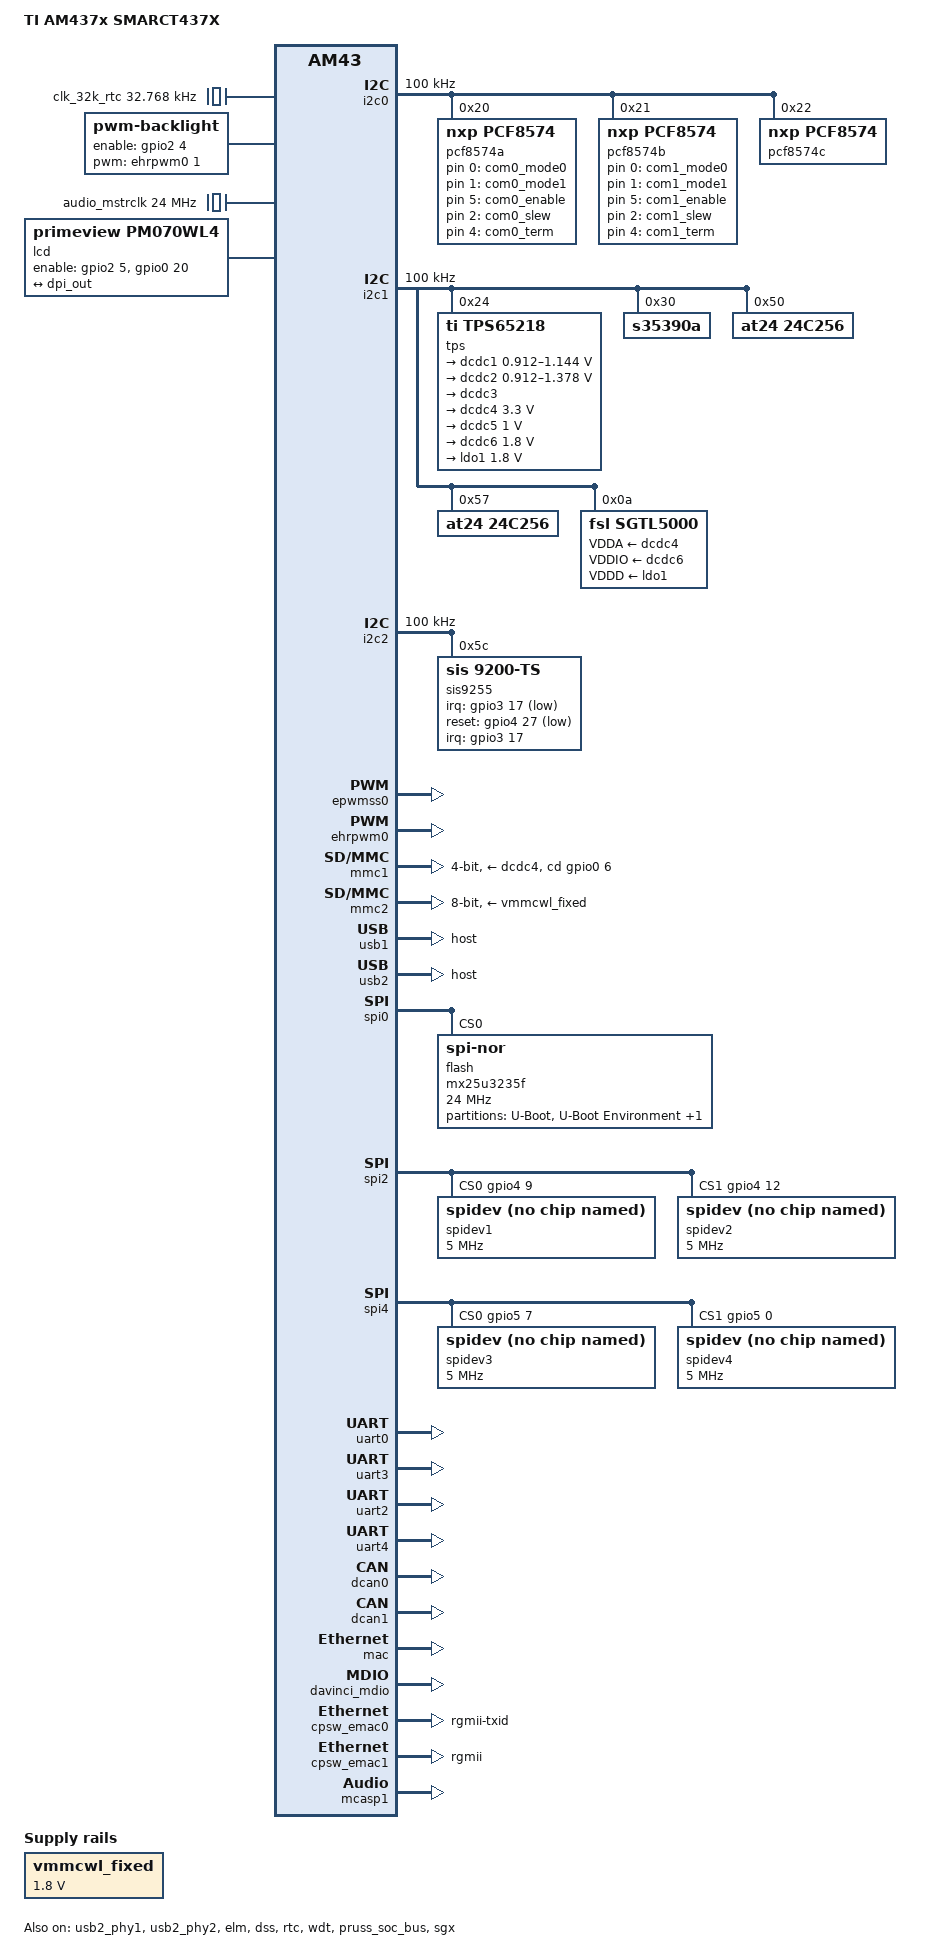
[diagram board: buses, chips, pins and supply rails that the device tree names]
/*
 * Copyright (C) 2014 Texas Instruments Incorporated - http://www.ti.com/
 *
 * This program is free software; you can redistribute it and/or modify
 * it under the terms of the GNU General Public License version 2 as
 * published by the Free Software Foundation.
 */

/* AM437x SMARC-T437X */

/dts-v1/;

#include "am4372.dtsi"
#include <dt-bindings/pinctrl/am43xx.h>
#include <dt-bindings/pwm/pwm.h>
#include <dt-bindings/gpio/gpio.h>
#include <dt-bindings/input/input.h>
#include <dt-bindings/interrupt-controller/irq.h>

/ {
	model = "TI AM437x SMARCT437X";
	compatible = "ti,am437x-smarct437x","ti,am4372","ti,am43";

	aliases {
		display0 = &lcd0;
                rtc0 = &s35390a;
                rtc1 = &rtc;
	};

        vmmcwl_fixed: fixedregulator-mmcwl {
                compatible = "regulator-fixed";
                regulator-name = "vmmcwl_fixed";
                regulator-min-microvolt = <1800000>;
                regulator-max-microvolt = <1800000>;
        };

	/* fixed 32k external oscillator clock */
	clk_32k_rtc: clk_32k_rtc {
		#clock-cells = <0>;
		compatible = "fixed-clock";
		clock-frequency = <32768>;
	};

        backlight {
                compatible = "pwm-backlight";
                enable-gpios = <&gpio2 4 GPIO_ACTIVE_HIGH>; /* Backlight Enable Pin*/
                pwms = <&ehrpwm0 1 250000 PWM_POLARITY_INVERTED>;
		brightness-levels = <255 212 128 56 75 62 53 51 0>;
                default-brightness-level = <8>; /* 8 is the brightest */
        };

        sound {
                compatible = "simple-audio-card";
                simple-audio-card,name = "SMARCT437X SOUND CARD";
                simple-audio-card,widgets =
                        "Headphone", "Headphone Jack",
                        "Line", "Line In";
                simple-audio-card,routing =
                        "Headphone Jack",       "HPLOUT",
                        "Headphone Jack",       "HPROUT",
                        "LINE1L",               "Line In",
                        "LINE1R",               "Line In";
                simple-audio-card,format = "dsp_b";
                simple-audio-card,bitclock-master = <&sound_master>;
                simple-audio-card,frame-master = <&sound_master>;
                simple-audio-card,bitclock-inversion;

                simple-audio-card,cpu {
                        sound-dai = <&mcasp1>;
                        system-clock-frequency = <12000000>;
                };

                /* For TI TLV320AIC3106 Audio Codec */
                /*sound_master: simple-audio-card,codec {
                        sound-dai = <&tlv320aic3106>;
                        system-clock-frequency = <24576000>;*/

                /* For Freescale SGTL5000 Audio Codec */
                sound_master: simple-audio-card,codec {
                        sound-dai = <&sgtl5000>;
                        system-clock-frequency = <24000000>;
                };
        };

        audio_mstrclk: mclk_osc {
                compatible = "fixed-clock";
                #clock-cells = <0>;
                clock-frequency = <24000000>;
        };

        lcd0: display {
                compatible = "primeview,pm070wl4", "panel-dpi";
                label = "lcd";

                pinctrl-names = "default";
                pinctrl-0 = <&lcd_pins>;

                enable-gpios = <&gpio2 5 GPIO_ACTIVE_HIGH>, <&gpio0 20 GPIO_ACTIVE_HIGH>;	/* Enable LCD_VDD_EN pin, LVDS Enable Pin */

                panel-timing {
                                clock-frequency = <52012800>;
                                hactive = <1024>;
                                vactive = <600>;
                                hfront-porch = <80>;
                                hback-porch = <80>;
                                hsync-len = <160>;
                                vback-porch = <10>;
                                vfront-porch = <10>;
                                vsync-len = <15>;
                                hsync-active = <0>;
                                vsync-active = <0>;
                                de-active = <1>;
                                pixelclk-active = <1>;
                };

                port {
                        lcd_in: endpoint {
                                remote-endpoint = <&dpi_out>;
                        };
                };
        };

        /*
         * Workaround to config SP339EER 
         * Possibly because this GPIO pin isn't bound to a driver the pin gets reset during kernel boot by the GPIO bank reset.
         * We work around this issue by using the GPIO pin as a LED with its default state on
         */
        workaround {
                compatible = "gpio-leds";

	/* Mode 01: RS232, Mode 10: RS485 Half Duplex, Mode 11: RS485/232 Full Duplex. */
                com0_mode0 {
                        label = "com0_mode0";
                        gpios = <&pcf8574a 0 GPIO_ACTIVE_HIGH>;
                        default-state = "off";
                };

                com0_mode1 {
                        label = "com0_mode1";
                        gpios = <&pcf8574a 1 GPIO_ACTIVE_HIGH>;
                        default-state = "on";
                };

                com0_enable {
                        label = "com0_enable";
                        gpios = <&pcf8574a 5 GPIO_ACTIVE_HIGH>;
                        default-state = "on";
                };

                com0_slew {
                        label = "com0_slew";
                        gpios = <&pcf8574a 2 GPIO_ACTIVE_HIGH>;
                        default-state = "on";
                };

                com0_term {
                        label = "com0_term";
                        gpios = <&pcf8574a 4 GPIO_ACTIVE_HIGH>;
                        default-state = "off"; /* RS422/485 Receiver Termination, set on when mode1/mode2 is 10 or 11 */
                };

                com1_mode0 {
                        label = "com1_mode0";
                        gpios = <&pcf8574b 0 GPIO_ACTIVE_HIGH>;
                        default-state = "off";
                };

                com1_mode1 {
                        label = "com1_mode1";
                        gpios = <&pcf8574b 1 GPIO_ACTIVE_HIGH>;
                        default-state = "on";
                };

                com1_enable {
                        label = "com1_enable";
                        gpios = <&pcf8574b 5 GPIO_ACTIVE_HIGH>;
                        default-state = "on";
                };

                com1_slew {
                        label = "com1_slew";
                        gpios = <&pcf8574b 2 GPIO_ACTIVE_HIGH>;
                        default-state = "on";
                };

                com1_term {
                        label = "com1_term";
                        gpios = <&pcf8574b 4 GPIO_ACTIVE_HIGH>;
                        default-state = "off"; /* RS422/485 Receiver Termination, set on when mode1/mode2 is 10 or 11 */
                };
        };
};

&am43xx_pinmux {
        pinctrl-names = "default";
        pinctrl-0 = <&clkout1_pin &clkout2_pin &gpio_pins_default &wdt_time_out_pins_default &debugss_pins>;

        i2c0_pins: i2c0_pins {
                pinctrl-single,pins = <
                        AM4372_IOPAD(0x988, PIN_INPUT | SLEWCTRL_FAST | MUX_MODE0) 	/* i2c0_sda.i2c0_sda */
                        AM4372_IOPAD(0x98c, PIN_INPUT | SLEWCTRL_FAST | MUX_MODE0)   	/* i2c0_scl.i2c0_scl */
                >;
        };

        i2c1_pins: i2c1_pins {
                pinctrl-single,pins = <
                        AM4372_IOPAD(0x910, PIN_INPUT | SLEWCTRL_FAST | MUX_MODE3)   	/* mii1_rxerr.i2c1_scl */
                        AM4372_IOPAD(0x90c, PIN_INPUT | SLEWCTRL_FAST | MUX_MODE3)   	/* mii1_crs.i2c1_sda  */
                >;
        };

        i2c2_pins: i2c2_pins {
                pinctrl-single,pins = <
                        AM4372_IOPAD(0x9ec, PIN_INPUT | SLEWCTRL_FAST | MUX_MODE3)   	/* cam1_data1.i2c2_scl */
                        AM4372_IOPAD(0x9e8, PIN_INPUT | SLEWCTRL_FAST | MUX_MODE3)   	/* cam1_data0.i2c2_sda  */
                >;
        };

        mmc1_pins: pinmux_mmc1_pins {
                pinctrl-single,pins = <
                        AM4372_IOPAD(0x8f0, PIN_INPUT | MUX_MODE0)	/* mmc0_dat3.mmc0_dat3 */
                        AM4372_IOPAD(0x8f4, PIN_INPUT | MUX_MODE0)   	/* mmc0_dat2.mmc0_dat2 */
                        AM4372_IOPAD(0x8f8, PIN_INPUT | MUX_MODE0)   	/* mmc0_dat1.mmc0_dat1 */
                        AM4372_IOPAD(0x8fc, PIN_INPUT | MUX_MODE0)   	/* mmc0_dat0.mmc0_dat0 */
                        AM4372_IOPAD(0x900, PIN_INPUT | MUX_MODE0)   	/* mmc0_clk.mmc0_clk */
                        AM4372_IOPAD(0x904, PIN_INPUT | MUX_MODE0)   	/* mmc0_cmd.mmc0_cmd */
                        AM4372_IOPAD(0x960, PIN_INPUT | MUX_MODE7)   	/* spi0_cs1.gpio0_6 */
                >;
        };

        emmc_pins: pinmux_emmc_pins {
                pinctrl-single,pins = <
                        AM4372_IOPAD(0x880, PIN_INPUT | MUX_MODE2)    	/* gpmc_csn1.mmc1_clk */
                        AM4372_IOPAD(0x884, PIN_INPUT | MUX_MODE2)    	/* gpmc_csn2.mmc1_cmd */
                        AM4372_IOPAD(0x800, PIN_INPUT | MUX_MODE1)    	/* gpmc_ad0.mmc1_dat0 */
                        AM4372_IOPAD(0x804, PIN_INPUT | MUX_MODE1)    	/* gpmc_ad1.mmc1_dat1 */
                        AM4372_IOPAD(0x808, PIN_INPUT | MUX_MODE1)    	/* gpmc_ad2.mmc1_dat2 */
                        AM4372_IOPAD(0x80c, PIN_INPUT | MUX_MODE1)    	/* gpmc_ad3.mmc1_dat3 */
                        AM4372_IOPAD(0x810, PIN_INPUT | MUX_MODE1)    	/* gpmc_ad4.mmc1_dat4 */
                        AM4372_IOPAD(0x814, PIN_INPUT | MUX_MODE1)    	/* gpmc_ad5.mmc1_dat5 */
                        AM4372_IOPAD(0x818, PIN_INPUT | MUX_MODE1)    	/* gpmc_ad6.mmc1_dat6 */
                        AM4372_IOPAD(0x81c, PIN_INPUT | MUX_MODE1)    	/* gpmc_ad7.mmc1_dat7 */
                >;
        };

        sdmmc_pins: pinmux_sdmmc_pins {
                pinctrl-single,pins = <
                        AM4372_IOPAD(0x88c, PIN_INPUT | MUX_MODE3)    	/* gpmc_clk.mmc2_clk */
                        AM4372_IOPAD(0x888, PIN_INPUT | MUX_MODE3)    	/* gpmc_csn3.mmc2_cmd */
                        AM4372_IOPAD(0x830, PIN_INPUT | MUX_MODE3)    	/* gpmc_ad12.mmc2_dat0 */
                        AM4372_IOPAD(0x834, PIN_INPUT | MUX_MODE3)    	/* gpmc_ad13.mmc2_dat1 */
                        AM4372_IOPAD(0x838, PIN_INPUT | MUX_MODE3)    	/* gpmc_ad14.mmc2_dat2 */
                        AM4372_IOPAD(0x83c, PIN_INPUT | MUX_MODE3)    	/* gpmc_ad15.mmc2_dat3 */
                        AM4372_IOPAD(0x820, PIN_INPUT | MUX_MODE3)    	/* gpmc_ad8.mmc2_dat4 */
                        AM4372_IOPAD(0x824, PIN_INPUT | MUX_MODE3)    	/* gpmc_ad9.mmc2_dat5 */
                        AM4372_IOPAD(0x828, PIN_INPUT | MUX_MODE3)    	/* gpmc_ad10.mmc2_dat6 */
                        AM4372_IOPAD(0x82c, PIN_INPUT | MUX_MODE3)    	/* gpmc_ad11.mmc2_dat7 */
                >;
        };

        ehrpwm0b_pins: backlight_pins {
                pinctrl-single,pins = <
                        AM4372_IOPAD(0x9d8, PIN_OUTPUT | MUX_MODE6)  	/* cam1_vd.ehrpwm0B */
                >;
        };

        clkout1_pin: pinmux_clkout1_pin {
                pinctrl-single,pins = <
                        AM4372_IOPAD(0xa70, PIN_OUTPUT_PULLDOWN | MUX_MODE3) 	/* XDMA_EVENT_INTR0/CLKOUT1 */
                >;
        };

        clkout2_pin: pinmux_clkout2_pin {
                pinctrl-single,pins = <
                        AM4372_IOPAD(0xa74, PIN_OUTPUT_PULLDOWN | MUX_MODE3) 	/* XDMA_EVENT_INTR1/CLKOUT2 */
                >;
        };

        dcan0_default: dcan0_default_pins {
                pinctrl-single,pins = <
                        AM4372_IOPAD(0x97c, PIN_INPUT_PULLUP | MUX_MODE2)    	/* uart1_rtsn.dcan0_rx */
                        AM4372_IOPAD(0x978, PIN_OUTPUT_PULLDOWN | MUX_MODE2) 	/* uart1_ctsn.dcan0_tx */
                >;
        };

        dcan1_default: dcan1_default_pins {
                pinctrl-single,pins = <
                        AM4372_IOPAD(0x984, PIN_INPUT_PULLUP | MUX_MODE2)    	/* uart1_txd.dcan1_rx */
                        AM4372_IOPAD(0x980, PIN_OUTPUT_PULLDOWN | MUX_MODE2) 	/* uart1_rxd.dcan1_tx */
                >;
        };

        uart0_pins: pinmux_uart0_pins {
                pinctrl-single,pins = <
                        AM4372_IOPAD(0x968, PIN_INPUT_PULLUP | MUX_MODE0)      	/* uart0_ctsn.uart0_ctsn */
                        AM4372_IOPAD(0x96c, PIN_OUTPUT_PULLDOWN | MUX_MODE0)   	/* uart0_rtsn.uart0_rtsn */
                        AM4372_IOPAD(0x970, PIN_INPUT | MUX_MODE0)      	/* uart0_rxd.uart0_rxd */
                        AM4372_IOPAD(0x974, PIN_OUTPUT_PULLDOWN | MUX_MODE0)   	/* uart0_txd.uart0_txd */
                >;
        };

        uart0_pins_sleep: pinmux_uart0_pins_sleep {
                pinctrl-single,pins = <
                        AM4372_IOPAD(0x968, PIN_INPUT_PULLDOWN | MUX_MODE7)
                        AM4372_IOPAD(0x96c, PIN_INPUT_PULLDOWN | MUX_MODE7)
                        AM4372_IOPAD(0x970, PIN_INPUT_PULLDOWN | MUX_MODE7)
                        AM4372_IOPAD(0x974, PIN_INPUT_PULLDOWN | MUX_MODE7)
                >;
        };

        uart3_pins: pinmux_uart3_pins {
                pinctrl-single,pins = <
                        AM4372_IOPAD(0xa28, PIN_INPUT | MUX_MODE0)      	/* uart3_rxd.uart3_rxd */
                        AM4372_IOPAD(0xa2c, PIN_OUTPUT_PULLDOWN | MUX_MODE0)   	/* uart3_txd.uart3_txd */
                >;
        };

        uart3_pins_sleep: pinmux_uart3_pins_sleep {
                pinctrl-single,pins = <
                        AM4372_IOPAD(0xa28, PIN_INPUT_PULLDOWN | MUX_MODE7)
                        AM4372_IOPAD(0xa2c, PIN_INPUT_PULLDOWN | MUX_MODE7)
                >;
        };

        uart2_pins: pinmux_uart2_pins {
                pinctrl-single,pins = <
                        AM4372_IOPAD(0xa00, PIN_INPUT_PULLUP | MUX_MODE2)     	/* cam1_data6.uart2_ctsn */
                        AM4372_IOPAD(0xa04, PIN_OUTPUT_PULLDOWN | MUX_MODE2)   	/* cam1_data7_rtsn.uart2_rtsn */
                        AM4372_IOPAD(0x9f8, PIN_INPUT | MUX_MODE2)      	/* cam1_data4_uart2_rxd */
                        AM4372_IOPAD(0x9fc, PIN_OUTPUT_PULLDOWN | MUX_MODE2)   	/* cam1_data5.uart2_txd */
                >;
        };

        uart2_pins_sleep: pinmux_uart2_pins_sleep {
                pinctrl-single,pins = <
                        AM4372_IOPAD(0xa00, PIN_INPUT_PULLDOWN | MUX_MODE7)
                        AM4372_IOPAD(0xa04, PIN_INPUT_PULLDOWN | MUX_MODE7)
                        AM4372_IOPAD(0x9f8, PIN_INPUT_PULLDOWN | MUX_MODE7)
                        AM4372_IOPAD(0x9fc, PIN_INPUT_PULLDOWN | MUX_MODE7)
                >;
        };

        uart4_pins: pinmux_uart4_pins {
                pinctrl-single,pins = <
                        AM4372_IOPAD(0x870, PIN_INPUT | MUX_MODE6)      	/* gpmc_wait0.uart4_rxd */
                        AM4372_IOPAD(0x874, PIN_OUTPUT_PULLDOWN | MUX_MODE6)   	/* gpmc_wpn.uart4_txd */
                >;
        };

        uart4_pins_sleep: pinmux_uart4_pins_sleep {
                pinctrl-single,pins = <
                        AM4372_IOPAD(0x870, PIN_INPUT_PULLDOWN | MUX_MODE7)
                        AM4372_IOPAD(0x974, PIN_INPUT_PULLDOWN | MUX_MODE7)
                >;
        };

        /*GPIO0-GPIO11, GPIO0-5 is input and GPIO6-11 is output by default.*/
        gpio_pins_default: pinmux_gpio_pin {
                pinctrl-single,pins = <
                       	AM4372_IOPAD(0xa6c, PIN_INPUT_PULLDOWN | MUX_MODE9)  	/* spi2_cs0.gpio0_23 */
                       	AM4372_IOPAD(0xa64, PIN_OUTPUT_PULLDOWN | MUX_MODE9)  	/* spi2_d0.gpio0_20, LVDS_EN */
                       	AM4372_IOPAD(0xa68, PIN_INPUT_PULLDOWN | MUX_MODE9)  	/* spi2_d1.gpio0_21 */
                       	AM4372_IOPAD(0xa60, PIN_INPUT_PULLDOWN | MUX_MODE9)  	/* spi2_sclk.gpio0_22 */
                        AM4372_IOPAD(0xa1c, PIN_OUTPUT_PULLDOWN | MUX_MODE7)  	/* cam0_data5.gpio4_27, SIS9200 Touch Reset */
                        AM4372_IOPAD(0xa24, PIN_OUTPUT_PULLDOWN | MUX_MODE7)  	/* cam0_data7.gpio4_29, Buzzer */
                        AM4372_IOPAD(0x99c, PIN_INPUT_PULLDOWN | MUX_MODE7) 	/* mcasp0_ahclkr.gpio3_17, SIS9200 Toucg Irq */
                >;
        };

        wdt_time_out_pins_default: pinmux_wdt_time_out_pin {
                pinctrl-single,pins = <
                        AM4372_IOPAD(0xa34, PIN_OUTPUT_PULLDOWN | MUX_MODE6) 	/* uart3_rtsn.ehrpwm5B */
                >;
        };

        cpsw_default: cpsw_default {
                pinctrl-single,pins = <
                        /* Slave 1 */
                        AM4372_IOPAD(0x92c, PIN_OUTPUT | MUX_MODE2) 	/* mii1_txclk.rmii1_tclk */
                        AM4372_IOPAD(0x914, PIN_OUTPUT | MUX_MODE2)  	/* mii1_txen.rgmii1_tctl */
                        AM4372_IOPAD(0x928, PIN_OUTPUT | MUX_MODE2)  	/* mii1_txd0.rgmii1_td0 */
                        AM4372_IOPAD(0x924, PIN_OUTPUT | MUX_MODE2)  	/* mii1_txd1.rgmii1_td1 */
                        AM4372_IOPAD(0x920, PIN_OUTPUT | MUX_MODE2)  	/* mii1_txd0.rgmii1_td2 */
                        AM4372_IOPAD(0x91c, PIN_OUTPUT | MUX_MODE2)  	/* mii1_txd1.rgmii1_td3 */
                        AM4372_IOPAD(0x930, PIN_INPUT | MUX_MODE2)   	/* mii1_rxclk.rmii1_rclk */
                        AM4372_IOPAD(0x918, PIN_INPUT | MUX_MODE2)   	/* mii1_rxdv.rgmii1_rctl */
                        AM4372_IOPAD(0x940, PIN_INPUT | MUX_MODE2)   	/* mii1_rxd0.rgmii1_rd0 */
                        AM4372_IOPAD(0x93c, PIN_INPUT | MUX_MODE2)   	/* mii1_rxd1.rgmii1_rd1 */
                        AM4372_IOPAD(0x938, PIN_INPUT | MUX_MODE2)   	/* mii1_rxd0.rgmii1_rd2 */
                        AM4372_IOPAD(0x934, PIN_INPUT | MUX_MODE2)   	/* mii1_rxd1.rgmii1_rd3 */

                        /* Slave 2 */
                        AM4372_IOPAD(0x858, PIN_OUTPUT | MUX_MODE2)   	/* gpmc_a6.rgmii2_tclk */
                        AM4372_IOPAD(0x840, PIN_OUTPUT | MUX_MODE2)   	/* gpmc_a0.rgmii2_tctl */
                        AM4372_IOPAD(0x854, PIN_OUTPUT | MUX_MODE2)   	/* gpmc_a5.rgmii2_td0 */
                        AM4372_IOPAD(0x850, PIN_OUTPUT | MUX_MODE2)   	/* gpmc_a4.rgmii2_td1 */
                        AM4372_IOPAD(0x84c, PIN_OUTPUT | MUX_MODE2)   	/* gpmc_a3.rgmii2_td2 */
                        AM4372_IOPAD(0x848, PIN_OUTPUT | MUX_MODE2)   	/* gpmc_a2.rgmii2_td3 */
                        AM4372_IOPAD(0x85c, PIN_INPUT | MUX_MODE2)    	/* gpmc_a7.rgmii2_rclk */
                        AM4372_IOPAD(0x844, PIN_INPUT | MUX_MODE2)    	/* gpmc_a1.rgmii2_rtcl */
                        AM4372_IOPAD(0x86c, PIN_INPUT | MUX_MODE2)    	/* gpmc_a11.rgmii2_rd0 */
                        AM4372_IOPAD(0x868, PIN_INPUT | MUX_MODE2)    	/* gpmc_a10.rgmii2_rd1 */
                        AM4372_IOPAD(0x864, PIN_INPUT | MUX_MODE2)    	/* gpmc_a9.rgmii2_rd2 */
                        AM4372_IOPAD(0x860, PIN_INPUT | MUX_MODE2)    	/* gpmc_a8.rgmii2_rd3 */
                >;
        };

        cpsw_sleep: cpsw_sleep {
                pinctrl-single,pins = <
                        /* Slave 1 reset value */
                        AM4372_IOPAD(0x92c, PIN_INPUT_PULLDOWN | MUX_MODE7)
                        AM4372_IOPAD(0x914, PIN_INPUT_PULLDOWN | MUX_MODE7)
                        AM4372_IOPAD(0x928, PIN_INPUT_PULLDOWN | MUX_MODE7)
                        AM4372_IOPAD(0x924, PIN_INPUT_PULLDOWN | MUX_MODE7)
                        AM4372_IOPAD(0x920, PIN_INPUT_PULLDOWN | MUX_MODE7)
                        AM4372_IOPAD(0x91c, PIN_INPUT_PULLDOWN | MUX_MODE7)
                        AM4372_IOPAD(0x930, PIN_INPUT_PULLDOWN | MUX_MODE7)
                        AM4372_IOPAD(0x918, PIN_INPUT_PULLDOWN | MUX_MODE7)
                        AM4372_IOPAD(0x940, PIN_INPUT_PULLDOWN | MUX_MODE7)
                        AM4372_IOPAD(0x93c, PIN_INPUT_PULLDOWN | MUX_MODE7)
                        AM4372_IOPAD(0x938, PIN_INPUT_PULLDOWN | MUX_MODE7)
                        AM4372_IOPAD(0x934, PIN_INPUT_PULLDOWN | MUX_MODE7)

                        /* Slave 2 reset value */
                        AM4372_IOPAD(0x858, PIN_INPUT_PULLDOWN | MUX_MODE7)
                        AM4372_IOPAD(0x840, PIN_INPUT_PULLDOWN | MUX_MODE7)
                        AM4372_IOPAD(0x854, PIN_INPUT_PULLDOWN | MUX_MODE7)
                        AM4372_IOPAD(0x850, PIN_INPUT_PULLDOWN | MUX_MODE7)
                        AM4372_IOPAD(0x84c, PIN_INPUT_PULLDOWN | MUX_MODE7)
                        AM4372_IOPAD(0x848, PIN_INPUT_PULLDOWN | MUX_MODE7)
                        AM4372_IOPAD(0x85c, PIN_INPUT_PULLDOWN | MUX_MODE7)
                        AM4372_IOPAD(0x844, PIN_INPUT_PULLDOWN | MUX_MODE7)
                        AM4372_IOPAD(0x86c, PIN_INPUT_PULLDOWN | MUX_MODE7)
                        AM4372_IOPAD(0x868, PIN_INPUT_PULLDOWN | MUX_MODE7)
                        AM4372_IOPAD(0x864, PIN_INPUT_PULLDOWN | MUX_MODE7)
                        AM4372_IOPAD(0x860, PIN_INPUT_PULLDOWN | MUX_MODE7)
                >;
        };

        davinci_mdio_default: davinci_mdio_default {
                pinctrl-single,pins = <
                        /* MDIO */
                        AM4372_IOPAD(0x948, PIN_INPUT | SLEWCTRL_FAST | MUX_MODE0)	/* mdio_data.mdio_data */
                        AM4372_IOPAD(0x94c, PIN_OUTPUT | MUX_MODE0)                  	/* mdio_clk.mdio_clk */
                >;
        };

        davinci_mdio_sleep: davinci_mdio_sleep {
                pinctrl-single,pins = <
                        /* MDIO reset value */
                        AM4372_IOPAD(0x948, PIN_INPUT_PULLDOWN | MUX_MODE7)
                        AM4372_IOPAD(0x94c, PIN_INPUT_PULLDOWN | MUX_MODE7)
                >;
        };

        dss_pins: dss_pins {
                pinctrl-single,pins = <
                        AM4372_IOPAD(0x9b0, PIN_OUTPUT | MUX_MODE2)  	/* cam0_hd.dss_data23 */
                        AM4372_IOPAD(0x9b4, PIN_OUTPUT | MUX_MODE2)  	/* cam0_vd.dss_data22 */
                        AM4372_IOPAD(0x9b8, PIN_OUTPUT | MUX_MODE2)  	/* cam0_field.dss_data21 */
                        AM4372_IOPAD(0x9bc, PIN_OUTPUT | MUX_MODE2)  	/* cam0_wen.dss_data20 */
                        AM4372_IOPAD(0x9c0, PIN_OUTPUT | MUX_MODE2)  	/* cam0_pclk.dss_data19 */
                        AM4372_IOPAD(0x9c4, PIN_OUTPUT | MUX_MODE2)  	/* cam0_data8.dss_data18 */
                        AM4372_IOPAD(0x9c8, PIN_OUTPUT | MUX_MODE2)  	/* cam0_data9.dss_data17 */
                        AM4372_IOPAD(0x9cc, PIN_OUTPUT | MUX_MODE2)  	/* cam1_data9.dss_data16 */
                        AM4372_IOPAD(0x8a0, PIN_OUTPUT | MUX_MODE0)  	/* DSS DATA 0 */
                        AM4372_IOPAD(0x8a4, PIN_OUTPUT | MUX_MODE0)
                        AM4372_IOPAD(0x8a8, PIN_OUTPUT | MUX_MODE0)
                        AM4372_IOPAD(0x8ac, PIN_OUTPUT | MUX_MODE0)
                        AM4372_IOPAD(0x8b0, PIN_OUTPUT | MUX_MODE0)
                        AM4372_IOPAD(0x8b4, PIN_OUTPUT | MUX_MODE0)
                        AM4372_IOPAD(0x8b8, PIN_OUTPUT | MUX_MODE0)
                        AM4372_IOPAD(0x8bc, PIN_OUTPUT | MUX_MODE0)
                        AM4372_IOPAD(0x8c0, PIN_OUTPUT | MUX_MODE0)
                        AM4372_IOPAD(0x8c4, PIN_OUTPUT | MUX_MODE0)
                        AM4372_IOPAD(0x8c8, PIN_OUTPUT | MUX_MODE0)
                        AM4372_IOPAD(0x8cc, PIN_OUTPUT | MUX_MODE0)
                        AM4372_IOPAD(0x8d0, PIN_OUTPUT | MUX_MODE0)
                        AM4372_IOPAD(0x8d4, PIN_OUTPUT | MUX_MODE0)
                        AM4372_IOPAD(0x8d8, PIN_OUTPUT | MUX_MODE0)
                        AM4372_IOPAD(0x8dc, PIN_OUTPUT | MUX_MODE0)  	/* DSS DATA 15 */
                        AM4372_IOPAD(0x8e0, PIN_OUTPUT | MUX_MODE0)  	/* DSS VSYNC */
                        AM4372_IOPAD(0x8e4, PIN_OUTPUT | MUX_MODE0)  	/* DSS HSYNC */
                        AM4372_IOPAD(0x8e8, PIN_OUTPUT | MUX_MODE0)  	/* DSS PCLK */
                        AM4372_IOPAD(0x8ec, PIN_OUTPUT | MUX_MODE0)  	/* DSS AC BIAS EN */

                >;
        };

        /* SPI_NOR Pins */
        spi0_pins: spi0_pins {
                pinctrl-single,pins = <
                        AM4372_IOPAD(0x95c, PIN_OUTPUT | MUX_MODE0)  	/* spi0_cs0.spi0_cs0 */
                        AM4372_IOPAD(0x950, PIN_INPUT | MUX_MODE0)   	/* spi0_sclk.spi0_sclk */
                        AM4372_IOPAD(0x954, PIN_INPUT | MUX_MODE0)   	/* spi0_d0.spi0_d0 */
                        AM4372_IOPAD(0x958, PIN_OUTPUT | MUX_MODE0)  	/* spi0_d1.spi0_d1 */
                >;
        };

        /* SPI0 Pins */
        spi2_pins: spi2_pins {
                pinctrl-single,pins = <
                        AM4372_IOPAD(0x9d4, PIN_OUTPUT | MUX_MODE7)  	/* cam1_hd.gpio4_9 */
                        AM4372_IOPAD(0x9e0, PIN_OUTPUT | MUX_MODE7)  	/* cam1_field.gpio4_12 */
                        AM4372_IOPAD(0x9dc, PIN_INPUT | MUX_MODE4)   	/* cam1_pclk.spi2_sclk */
                        AM4372_IOPAD(0x9d0, PIN_INPUT | MUX_MODE4)   	/* cam1_data8.spi2_d0 */
                        AM4372_IOPAD(0x9e4, PIN_OUTPUT | MUX_MODE4)  	/* cam1_wen.spi2_d1 */
                >;
        };

        /* SPI1 Pins */
        spi4_pins: spi4_pins {
                pinctrl-single,pins = <
                        AM4372_IOPAD(0xa5c, PIN_OUTPUT | MUX_MODE7)  	/* spi4_cs0.gpio5_7 */
                        AM4372_IOPAD(0xa30, PIN_OUTPUT | MUX_MODE7)  	/* uart3_cstn.gpio5_0 */
                        AM4372_IOPAD(0xa50, PIN_INPUT | MUX_MODE0)   	/* spi4_sclk.spi4_sclk */
                        AM4372_IOPAD(0xa54, PIN_INPUT | MUX_MODE0)   	/* spi4_d0.spi4_d0 */
                        AM4372_IOPAD(0xa58, PIN_OUTPUT | MUX_MODE0)  	/* spi4_d1.spi4_d1 */
                >;
        };

        mcasp1_pins: mcasp1_pins {
                pinctrl-single,pins = <
                        AM4372_IOPAD(0x9a0, PIN_INPUT_PULLDOWN | MUX_MODE3)  	/* mcasp0_aclkr.mcasp1_aclkx */
                        AM4372_IOPAD(0x9a4, PIN_INPUT_PULLDOWN | MUX_MODE3)  	/* mcasp0_fsr.mcasp1_fsx */
                        AM4372_IOPAD(0x9a8, PIN_OUTPUT_PULLDOWN | MUX_MODE3) 	/* mcasp0_axr1.mcasp1_axr0 */
                        AM4372_IOPAD(0x9ac, PIN_INPUT_PULLDOWN | MUX_MODE3)  	/* mcasp0_ahclkx.mcasp1_axr1 */
                >;
        };

        mcasp1_sleep_pins: mcasp1_sleep_pins {
                pinctrl-single,pins = <
                        AM4372_IOPAD(0x9a0, PIN_INPUT_PULLDOWN | MUX_MODE7)
                        AM4372_IOPAD(0x9a4, PIN_INPUT_PULLDOWN | MUX_MODE7)
                        AM4372_IOPAD(0x9a8, PIN_INPUT_PULLDOWN | MUX_MODE7)
                        AM4372_IOPAD(0x9ac, PIN_INPUT_PULLDOWN | MUX_MODE7)
                >;
        };

        lcd_pins: lcd_pins {
                pinctrl-single,pins = <
                        AM4372_IOPAD(0x89c, PIN_OUTPUT_PULLDOWN | MUX_MODE7) 	/* gpmc_be0n_cle.gpio2_5 */
                >;
        };

        debugss_pins: pinmux_debugss_pins {
                pinctrl-single,pins = <
                        AM4372_IOPAD(0xa90, PIN_INPUT_PULLDOWN)
                        AM4372_IOPAD(0xa94, PIN_INPUT_PULLDOWN)
                        AM4372_IOPAD(0xa98, PIN_INPUT_PULLDOWN)
                        AM4372_IOPAD(0xa9c, PIN_INPUT_PULLDOWN)
                        AM4372_IOPAD(0xaa0, PIN_INPUT_PULLDOWN)
                        AM4372_IOPAD(0xaa4, PIN_INPUT_PULLDOWN)
                        AM4372_IOPAD(0xaa8, PIN_INPUT_PULLDOWN)
                >;
        };

        usb1_pins: usb1_pins {
                pinctrl-single,pins = <
                        AM4372_IOPAD(0xac0, PIN_OUTPUT | MUX_MODE0)  	/* usb0_drvvbus.usb0_drvvbus */
                        /* USB0 Over Current */
                       	AM4372_IOPAD(0x908, PIN_INPUT | MUX_MODE9)   	/* mii1_col.gpio0_0 */
                >;
        };

        usb2_pins: usb2_pins {
                pinctrl-single,pins = <
                        AM4372_IOPAD(0xac4, PIN_OUTPUT | MUX_MODE0)  	/* usb1_drvvbus.usb1_drvvbus */
                        /* USB1 Over Current */
                        AM4372_IOPAD(0x878, PIN_INPUT | MUX_MODE7)   	/* gpmc_be1n.gpio1_28 */
                >;
        };
};

&i2c0 {
        status = "okay";
        pinctrl-names = "default";
        pinctrl-0 = <&i2c0_pins>;
        clock-frequency = <100000>;

        	pcf8574a: gpio@20 {
               		compatible = "nxp,pcf8574";
                       	reg = <0x20>;
                       	lines-initial-states = <0x3f>;
                       	gpio-controller;
                      	#gpio-cells = <2>;
                      	interrupt-controller;
                      	#interrupt-cells = <2>;
       		};

                pcf8574b: gpio@21 {
                        compatible = "nxp,pcf8574";
                        reg = <0x21>;
                        lines-initial-states = <0x3f>;
                        gpio-controller;
                        #gpio-cells = <2>;
                        interrupt-controller;
                        #interrupt-cells = <2>;
                };

                pcf8574c: gpio@22 {
                        compatible = "nxp,pcf8574";
                        reg = <0x22>;
                        lines-initial-states = <0xf>;
                        gpio-controller;
                        #gpio-cells = <2>;
                        interrupt-controller;
                        #interrupt-cells = <2>;
                };
};

&i2c1 {
        status = "okay";
        pinctrl-names = "default";
        pinctrl-0 = <&i2c1_pins>;
        clock-frequency = <100000>;

        tps@24 {
                compatible = "ti,tps65218";
                reg = <0x24>;
                interrupts = <GIC_SPI 7 IRQ_TYPE_LEVEL_HIGH>;	/* NMIN */
                interrupt-controller;
                #interrupt-cells = <2>;

                dcdc1: regulator-dcdc1 {
                        compatible = "ti,tps65218-dcdc1";
                        /* VDD_CORE limits min of OPP50 and max of OPP100 */
                        regulator-name = "vdd_core";
                        regulator-min-microvolt = <912000>;
                        regulator-max-microvolt = <1144000>;
                        regulator-boot-on;
                        regulator-always-on;
                };

                dcdc2: regulator-dcdc2 {
                        compatible = "ti,tps65218-dcdc2";
                        /* VDD_MPU limits min of OPP50 and max of OPP_NITRO */
                        regulator-name = "vdd_mpu";
                        regulator-min-microvolt = <912000>;
                        regulator-max-microvolt = <1378000>;
                        regulator-boot-on;
                        regulator-always-on;
                };

                dcdc3: regulator-dcdc3 {
                        compatible = "ti,tps65218-dcdc3";
                        regulator-name = "vdds_ddr";
                        /*regulator-min-microvolt = <1500000>;
                        regulator-max-microvolt = <1500000>;*/
                        regulator-boot-on;
                        regulator-always-on;
                        regulator-state-mem {
                                regulator-on-in-suspend;
                        };
                        regulator-state-disk {
                                regulator-off-in-suspend;
                        };
                };

                dcdc4: regulator-dcdc4 {
                        compatible = "ti,tps65218-dcdc4";
                        regulator-name = "v3_3d";
                        regulator-min-microvolt = <3300000>;
                        regulator-max-microvolt = <3300000>;
                        regulator-boot-on;
                        regulator-always-on;
                };

                dcdc5: regulator-dcdc5 {
                        compatible = "ti,tps65218-dcdc5";
                        regulator-name = "v1_0bat";
                        regulator-min-microvolt = <1000000>;
                        regulator-max-microvolt = <1000000>;
                        regulator-boot-on;
                        regulator-always-on;
                        regulator-state-mem {
                                regulator-on-in-suspend;
                        };
                };

                dcdc6: regulator-dcdc6 {
                        compatible = "ti,tps65218-dcdc6";
                        regulator-name = "v1_8bat";
                        regulator-min-microvolt = <1800000>;
                        regulator-max-microvolt = <1800000>;
                        regulator-boot-on;
                        regulator-always-on;
                        regulator-state-mem {
                                regulator-on-in-suspend;
                        };
                };

                ldo1: regulator-ldo1 {
                        compatible = "ti,tps65218-ldo1";
                        regulator-name = "v1_8d";
                        regulator-min-microvolt = <1800000>;
                        regulator-max-microvolt = <1800000>;
                        regulator-boot-on;
                        regulator-always-on;
                };

                power-button {
                        compatible = "ti,tps65218-pwrbutton";
                        status = "okay";
                        interrupts = <3 IRQ_TYPE_EDGE_BOTH>;
                };
        };

        s35390a: s35390a@30 {
                compatible = "s35390a";
                reg = <0x30>;
        };

        at24@50 {
                compatible = "at24,24c256";
                reg = <0x50>;
        };

        at24@57 {
                compatible = "at24,24c256";
                reg = <0x57>;
        };

        /* For TI TLV320AIC3106 Audio Codec */
        /*tlv320aic3106: tlv320aic3106@1b {
               	#sound-dai-cells = <0>;
                compatible = "ti,tlv320aic3106";
                reg = <0x1b>;
                status = "okay";

                AVDD-supply = <&dcdc4>;
                IOVDD-supply = <&dcdc6>;
                DRVDD-supply = <&dcdc4>;
                DVDD-supply = <&ldo1>;
        };*/

        /* For Freescale SGTL5000 Audio Codec */
        sgtl5000: sgtl5000@0a {
                #sound-dai-cells = <0>;
                compatible = "fsl,sgtl5000";
                reg = <0x0a>;
                clocks = <&audio_mstrclk>;
                VDDA-supply = <&dcdc4>;
                VDDIO-supply = <&dcdc6>;
                VDDD-supply = <&ldo1>;
        };
};

&i2c2 {
        status = "okay";
        pinctrl-names = "default";
        pinctrl-0 = <&i2c2_pins>;
        clock-frequency = <100000>;

        /* SIS9200 I2C Touchscreen */
	sis9255@5c  {
		compatible = "sis,9200-ts";
		reg = <0x5c>;
		pinctrl-names = "default";
		interrupt-parent = <&gpio3>;
		interrupts = <17 IRQ_TYPE_EDGE_FALLING>;
		irq-gpios = <&gpio3 17 GPIO_ACTIVE_LOW>;
		reset-gpios = <&gpio4 27 GPIO_ACTIVE_LOW>;
	};
};


&epwmss0 {
        status = "okay";
};

&ehrpwm0 {
                pinctrl-names = "default";
                pinctrl-0 = <&ehrpwm0b_pins>;
                status = "okay";
};

&gpio0 {
        status = "okay";
};

&gpio1 {
        status = "okay";
};

&gpio2 {
        status = "okay";
};

&gpio3 {
        status = "okay";
};

&gpio4 {
        status = "okay";
};

&gpio5 {
        status = "okay";
};

&mmc1 {
        status = "okay";
        pinctrl-names = "default";
        pinctrl-0 = <&mmc1_pins>;

        vmmc-supply = <&dcdc4>;
        bus-width = <4>;
        cd-gpios = <&gpio0 6 GPIO_ACTIVE_HIGH>;
};

&mmc2 {
        pinctrl-names = "default";
        pinctrl-0 = <&emmc_pins>;
        bus-width = <8>;
        vmmc-supply = <&vmmcwl_fixed>;
        status = "okay";
        ti,non-removable;
};

/*If carrier board eMMC (or 2nd SD slot) is present and used, un-comment out the following nodes. SD card will be emulated /dev/mmcblk2 instead of /dev/mmcblk1*/

/*&mmc3 {
        status = "okay";
        dmas = <&edma_xbar 30 0 1>,
                <&edma_xbar 31 0 2>;
        dma-names = "tx", "rx";
        vmmc-supply = <&vmmcwl_fixed>;
        bus-width = <8>;
        pinctrl-names = "default";
        pinctrl-0 = <&sdmmc_pins>;
        keep-power-in-suspend;
        ti,non-removable;
};*/

/* Four-Wire Resistive Touch */
&tscadc {
        status = "disabled";
        tsc {
                ti,wires = <4>;
                ti,x-plate-resistance = <200>;
                ti,coordinate-readouts = <5>;
                ti,wire-config = <0x00 0x11 0x22 0x33>;
                ti,charge-delay = <0xB000>;
        };

        adc {
                ti,adc-channels = <0 1 2 3>;
        };
};

&usb2_phy1 {
        status = "okay";
};

&usb1 {
        dr_mode = "host";
        status = "okay";
        pinctrl-names = "default";
        pinctrl-0 = <&usb1_pins>;
};

&usb2_phy2 {
        status = "okay";
};

&usb2 {
        dr_mode = "host";
        status = "okay";
        pinctrl-names = "default";
        pinctrl-0 = <&usb2_pins>;
};

&spi0 {
        ti,spi-num-cs = <1>;
        status = "okay";
        pinctrl-names = "default";
        pinctrl-0 = <&spi0_pins>;
        dmas = <&edma 16 0
                &edma 17 0>;
        dma-names = "tx0", "rx0";

        flash: mx25u3235f@0 {
                #address-cells = <1>;
                #size-cells = <1>;
                compatible = "jedec,spi-nor";
                spi-max-frequency = <24000000>;
                reg = <0>;

                /* MTD partition table.
                 * The ROM checks the first 512KiB
                 * for a valid file to boot(XIP).
                 */
                        partition@0 {
                                label = "U-Boot";
                                reg = <0x0 0x100000>;
                        };

                        partition@100000 {
                                label = "U-Boot Environment";
                                reg = <0x100000 0x080000>;
                        };

                        partition@180000 {
                                label = "Flattened Device Tree";
                                reg = <0x180000 0x200000>;
                        };

        };
};

/* SPI0, spidev2 */
&spi2 {
        ti,spi-num-cs = <2>;
        status = "okay";
        pinctrl-names = "default";
        pinctrl-0 = <&spi2_pins>;
        cs-gpios = <&gpio4 9 GPIO_ACTIVE_HIGH>,<&gpio4 12 GPIO_ACTIVE_HIGH>;
        dmas = <&edma 18 0
                &edma 19 0
                &edma 20 0
                &edma 21 0>;
        dma-names = "tx0", "rx0", "tx1", "rx1";

                spidev1: spidev@0 {
                        #address-cells = <1>;
                        #size-cells = <0>;
                        compatible = "spidev";
                        reg = <0>;
                        spi-max-frequency = <5000000>;
                };

                spidev2: spidev@1 {
                        #address-cells = <1>;
                        #size-cells = <0>;
                        compatible = "spidev";
                        reg = <1>;
                        spi-max-frequency = <5000000>;
                };
        };

/* SPI1, spidev3 */
&spi4 {
        ti,spi-num-cs = <2>;
        status = "okay";
        pinctrl-names = "default";
        pinctrl-0 = <&spi4_pins>;
        cs-gpios = <&gpio5 7 GPIO_ACTIVE_HIGH>,<&gpio5 0 GPIO_ACTIVE_HIGH>;
        dmas = <&edma 26 0
                &edma 27 0
                &edma 28 0
                &edma 29 0>;
        dma-names = "tx0", "rx0", "tx1", "rx1";

                spidev3: spidev@0 {
                        #address-cells = <1>;
                        #size-cells = <0>;
                        compatible = "spidev";
                        reg = <0>;
                        spi-max-frequency = <5000000>;
                };

                spidev4: spidev@1 {
                        #address-cells = <1>;
                        #size-cells = <0>;
                        compatible = "spidev";
                        reg = <1>;
                        spi-max-frequency = <5000000>;
                };
        };

&uart0 {
        pinctrl-names = "default";
        pinctrl-0 = <&uart0_pins>;
        pinctrl-1 = <&uart0_pins_sleep>;

        status = "okay";
};

/* RS232 */
&uart3 {
        pinctrl-names = "default";
        pinctrl-0 = <&uart3_pins>;
        pinctrl-1 = <&uart3_pins_sleep>;

        status = "okay";
};

/* RS485 */
/*&uart3 {
        pinctrl-names = "default";
        pinctrl-0 = <&uart3_pins>;
        pinctrl-1 = <&uart3_pins_sleep>;
	rts-gpio = <&pcf8574a 3 GPIO_ACTIVE_HIGH>;
        rs485-rts-active-low;
        rs485-rts-delay = <2 2>;
        rs485-rx-during-tx; 
        linux,rs485-enabled-at-boot-time;

        status = "okay";
};*/

/* RS232 */
&uart2 {
        pinctrl-names = "default";
        pinctrl-0 = <&uart2_pins>;
        pinctrl-1 = <&uart2_pins_sleep>;

        status = "okay";
};

/* RS485 */
/*&uart2 {
        pinctrl-names = "default";
        pinctrl-0 = <&uart2_pins>;
        pinctrl-1 = <&uart2_pins_sleep>;
        rts-gpio = <&pcf8574b 3 GPIO_ACTIVE_HIGH>;
        rs485-rts-active-low;
        rs485-rts-delay = <2 2>;
        rs485-rx-during-tx;
        linux,rs485-enabled-at-boot-time;

        status = "okay";
};*/

&uart4 {
        pinctrl-names = "default";
        pinctrl-0 = <&uart4_pins>;
        pinctrl-1 = <&uart4_pins_sleep>;

        status = "okay";
};

&dcan0 {
        pinctrl-names = "default";
        pinctrl-0 = <&dcan0_default>;
        status = "okay";
};

&dcan1 {
        pinctrl-names = "default";
        pinctrl-0 = <&dcan1_default>;
        status = "okay";
};

&mac {
        pinctrl-names = "default", "sleep";
        pinctrl-0 = <&cpsw_default>;
        pinctrl-1 = <&cpsw_sleep>;
        dual_emac = <1>;
        status = "okay";
};

&davinci_mdio {
        pinctrl-names = "default", "sleep";
        pinctrl-0 = <&davinci_mdio_default>;
        pinctrl-1 = <&davinci_mdio_sleep>;
        status = "okay";
};

&cpsw_emac0 {
        phy_id = <&davinci_mdio>, <6>;
        phy-mode = "rgmii-txid";
        dual_emac_res_vlan = <1>;
};

&cpsw_emac1 {
        phy_id = <&davinci_mdio>, <7>;
        phy-mode = "rgmii";
        dual_emac_res_vlan = <2>;
};

&elm {
        status = "okay";
};

&mcasp1 {
        #sound-dai-cells = <0>;
        pinctrl-names = "default", "sleep";
        pinctrl-0 = <&mcasp1_pins>;
        pinctrl-1 = <&mcasp1_sleep_pins>;

        status = "okay";

                op-mode = <0>;          /* MCASP_IIS_MODE */
                tdm-slots = <2>;
                /* 4 serializers */
                serial-dir = <  	/* 0: INACTIVE, 1: TX, 2: RX */
                        1 2 0 0
                >;

                tx-num-evt = <1>;
                rx-num-evt = <1>;
};

&dss {
        status = "okay";

        pinctrl-names = "default";
        pinctrl-0 = <&dss_pins>;

        port {
                dpi_out: endpoint@0 {
                        remote-endpoint = <&lcd_in>;
                        data-lines = <24>;
                };
        };
};

&rtc {
        clocks = <&clk_32k_rtc>, <&clk_32768_ck>;
        clock-names = "ext-clk", "int-clk";
        status = "okay";
};

&wdt {
        status = "okay";
};

&cpu {
        cpu0-supply = <&dcdc2>;
};

&wkup_m3_ipc {
        ti,scale-data-fw = "am43x-evm-scale-data.bin";
};

&pruss_soc_bus {
        status = "okay";

        pruss1: pruss@54400000 {
                status = "okay";

                pru1_0: pru@54434000 {
                        status = "okay";
                };

                pru1_1: pru@54438000 {
                        status = "okay";
                };
        };

        pruss0: pruss@54440000 {
                status = "okay";

                pru0_0: pru@54474000 {
                        status = "okay";
                };

                pru0_1: pru@54478000 {
                        status = "okay";
                };
        };
};

&sgx {
        status = "okay";
};
